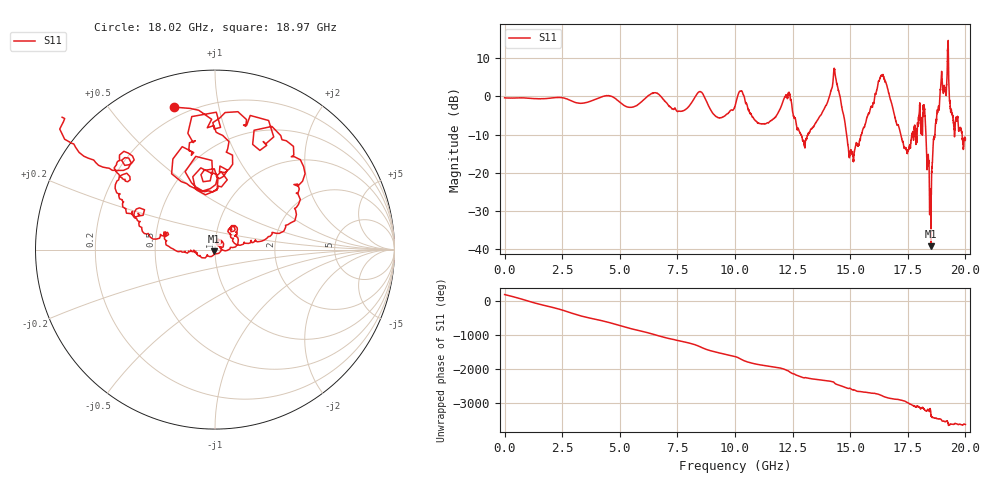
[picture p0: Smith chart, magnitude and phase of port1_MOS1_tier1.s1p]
! Created with skrf 1.8.0 (http://scikit-rf.org).
# GHz S RI R 50.0
!freq ReS11 ImS11
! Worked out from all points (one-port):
!   10001 points, 1 MHz to 20 GHz, reference 50 ohm
!   lowest |S11| = -39.3 dB at 18.51 GHz (marker M1), VSWR 1.02, Z = 49.4 - j0.895 ohm
!   |S11| at or under -10 dB: 14.84 GHz to 15.49 GHz (645.7 MHz wide, 4.26 % of centre); 17.19 GHz to 17.69 GHz (491.6 MHz wide, 2.82 % of centre); 18.29 GHz to 18.68 GHz (392.3 MHz wide, 2.12 % of centre) (the widest 3 of 12)
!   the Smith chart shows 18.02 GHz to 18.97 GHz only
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0.001  -0.9614 0.00433
0.9309535  0.9471 0.1229
1.498925  -0.1901 -0.9131
2.500875  0.0714 0.9593
3.272836  0.1498 -0.8008
4.0068  -0.9089 0.2197
5.00075  0.8315 -0.1357
5.984701  -0.8759 0.00447
6.506675  0.0619 1.114
7.500625  0.0746 -0.6283
8.474576  -0.0775 1.154
9.134543  0.2813 -0.4844
10.0005  -0.7054 0.2061
10.45048  0.7492 0.3766
12.1004  -0.8596 0.25
12.50038  0.5615 0.2821
13.79231  -0.6013 -0.1566
14.37028  0.2277 1.749
15.00025  0.125 -0.1351
15.9762  -0.7518 0.0921
16.39618  -0.1477 1.916
16.63617  1.016 0.7077
17.50013  -0.0557 -0.1845
18.50807  -0.00597 -0.00905
18.87006  -0.5899 0.4536
19.15004  0.5452 0.9473
19.35403  0.6586 -0.241
20  0.2534 -0.1095
